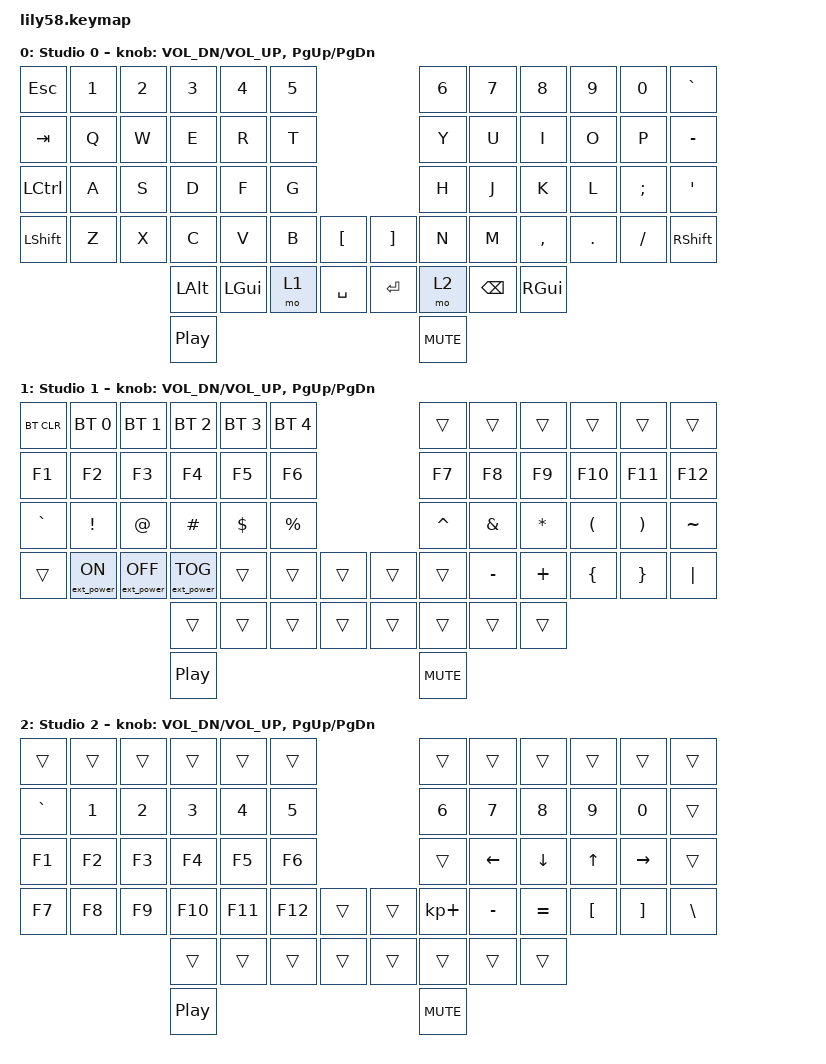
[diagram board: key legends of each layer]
/*
 * Copyright (c) 2020 The ZMK Contributors
 *
 * SPDX-License-Identifier: MIT
 */

#include <behaviors.dtsi>
#include <dt-bindings/zmk/keys.h>
#include <dt-bindings/zmk/bt.h>
#include <dt-bindings/zmk/ext_power.h>

/ {
    keymap {
        compatible = "zmk,keymap";

        default_layer {
            display-name = "Studio 0";
            bindings = <
                &kp ESC   &kp N1 &kp N2 &kp N3   &kp N4   &kp N5                     &kp N6 &kp N7   &kp N8    &kp N9  &kp N0   &kp GRAVE
                &kp TAB   &kp Q  &kp W  &kp E    &kp R    &kp T                      &kp Y  &kp U    &kp I     &kp O   &kp P    &kp MINUS
                &kp LCTRL &kp A  &kp S  &kp D    &kp F    &kp G                      &kp H  &kp J    &kp K     &kp L   &kp SEMI &kp SQT
                &kp LSHFT &kp Z  &kp X  &kp C    &kp V    &kp B  &kp LBKT   &kp RBKT &kp N  &kp M    &kp COMMA &kp DOT &kp FSLH &kp RSHFT
                                        &kp LALT &kp LGUI &mo 1  &kp SPACE  &kp RET  &mo 2  &kp BSPC &kp RGUI
                                        &kp C_PP                                    &kp C_MUTE
            >;
            sensor-bindings = <
                        &inc_dec_kp C_VOL_DN C_VOL_UP
                        &inc_dec_kp PG_UP PG_DN
            >;
        };

        lower_layer {
            display-name = "Studio 1";
            bindings = <
                &bt BT_CLR &bt BT_SEL 0     &bt BT_SEL 1      &bt BT_SEL 2      &bt BT_SEL 3 &bt BT_SEL 4                 &trans    &trans    &trans    &trans    &trans    &trans
                &kp F1     &kp F2           &kp F3            &kp F4            &kp F5       &kp F6                       &kp F7    &kp F8    &kp F9    &kp F10   &kp F11   &kp F12
                &kp GRAVE  &kp EXCL         &kp AT            &kp HASH          &kp DOLLAR   &kp PRCNT                    &kp CARET &kp AMPS  &kp ASTRK &kp LPAR  &kp RPAR  &kp TILDE
                &trans     &ext_power EP_ON &ext_power EP_OFF &ext_power EP_TOG &trans       &trans    &trans   &trans    &trans    &kp MINUS &kp PLUS  &kp LBRC  &kp RBRC  &kp PIPE
                                                            &trans            &trans       &trans    &trans   &trans    &trans    &trans    &trans
                                        &kp C_PP                                    &kp C_MUTE
            >;
            sensor-bindings = <
                        &inc_dec_kp C_VOL_DN C_VOL_UP
                        &inc_dec_kp PG_UP PG_DN
            >;
        };

        raise_layer {
            display-name = "Studio 2";
            bindings = <
                &trans    &trans &trans &trans  &trans  &trans                       &trans      &trans    &trans    &trans   &trans    &trans
                &kp GRAVE &kp N1 &kp N2 &kp N3  &kp N4  &kp N5                       &kp N6      &kp N7    &kp N8    &kp N9   &kp N0    &trans
                &kp F1    &kp F2 &kp F3 &kp F4  &kp F5  &kp F6                       &trans      &kp LEFT  &kp DOWN  &kp UP   &kp RIGHT &trans
                &kp F7    &kp F8 &kp F9 &kp F10 &kp F11 &kp F12   &trans   &trans    &kp KP_PLUS &kp MINUS &kp EQUAL &kp LBKT &kp RBKT  &kp BSLH
                                        &trans  &trans  &trans    &trans   &trans    &trans      &trans    &trans
                                        &kp C_PP                                    &kp C_MUTE
            >;
            sensor-bindings = <
                        &inc_dec_kp C_VOL_DN C_VOL_UP
                        &inc_dec_kp PG_UP PG_DN
            >;

                extra1 {
                        display-name = "Studio 3";
                        status = "reserved";
                        sensor-bindings = <
                            &inc_dec_kp C_VOL_DN C_VOL_UP
                            &inc_dec_kp PG_UP PG_DN
                         >;
                };

                extra2 {
                        display-name = "Studio 4";
                        status = "reserved";
                        sensor-bindings = <
                            &inc_dec_kp C_VOL_DN C_VOL_UP
                            &inc_dec_kp PG_UP PG_DN
                         >;
                };

                extra3 {
                        display-name = "Studio 5";
                        status = "reserved"; 
                        sensor-bindings = <
                            &inc_dec_kp C_VOL_DN C_VOL_UP
                            &inc_dec_kp PG_UP PG_DN
                         >;
                };
        };
    };
};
